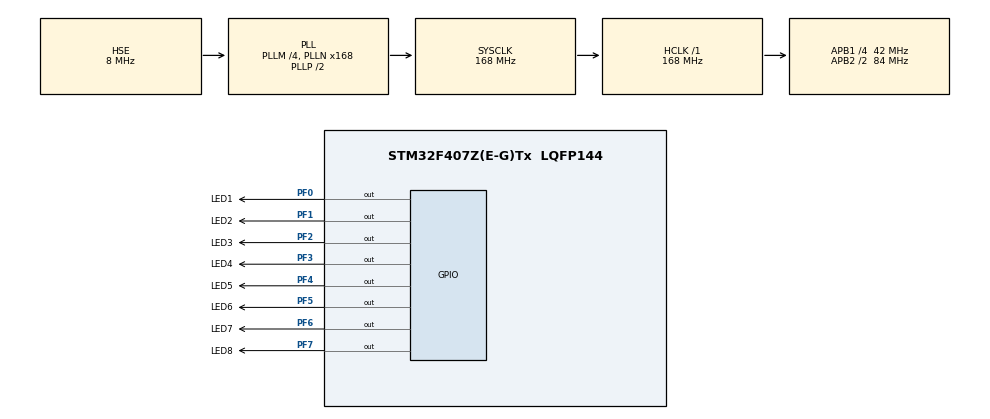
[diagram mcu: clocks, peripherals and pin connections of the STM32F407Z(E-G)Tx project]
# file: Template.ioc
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Mcu.Family=STM32F4
Mcu.Name=STM32F407Z(E-G)Tx
Mcu.Package=LQFP144
NVIC.PriorityGroup=NVIC_PRIORITYGROUP_4
PA13.Mode=Serial_Wire
PA13.Signal=SYS_JTMS-SWDIO
PA14.Mode=Serial_Wire
PA14.Signal=SYS_JTCK-SWCLK
PC14-OSC32_IN.Mode=LSE-External-Oscillator
PC14-OSC32_IN.Signal=RCC_OSC32_IN
PC15-OSC32_OUT.Mode=LSE-External-Oscillator
PC15-OSC32_OUT.Signal=RCC_OSC32_OUT
PF0.GPIO_Label=LED1
PF0.GPIO_ModeDefaultOutputPP=GPIO_MODE_OUTPUT_PP
PF0.GPIO_PuPd=GPIO_NOPULL
PF0.GPIO_Speed=GPIO_SPEED_FREQ_LOW
PF0.PinState=GPIO_PIN_SET
PF0.Signal=GPIO_Output
PF1.GPIO_Label=LED2
PF1.GPIO_ModeDefaultOutputPP=GPIO_MODE_OUTPUT_PP
PF1.GPIO_PuPd=GPIO_NOPULL
PF1.GPIO_Speed=GPIO_SPEED_FREQ_LOW
PF1.PinState=GPIO_PIN_SET
PF1.Signal=GPIO_Output
PF2.GPIO_Label=LED3
PF2.GPIO_ModeDefaultOutputPP=GPIO_MODE_OUTPUT_PP
PF2.GPIO_PuPd=GPIO_NOPULL
PF2.GPIO_Speed=GPIO_SPEED_FREQ_LOW
PF2.PinState=GPIO_PIN_SET
PF2.Signal=GPIO_Output
PF3.GPIO_Label=LED4
PF3.GPIO_ModeDefaultOutputPP=GPIO_MODE_OUTPUT_PP
PF3.GPIO_PuPd=GPIO_NOPULL
PF3.GPIO_Speed=GPIO_SPEED_FREQ_LOW
PF3.PinState=GPIO_PIN_SET
PF3.Signal=GPIO_Output
PF4.GPIO_Label=LED5
PF4.GPIO_ModeDefaultOutputPP=GPIO_MODE_OUTPUT_PP
PF4.GPIO_PuPd=GPIO_NOPULL
PF4.GPIO_Speed=GPIO_SPEED_FREQ_LOW
PF4.PinState=GPIO_PIN_SET
PF4.Signal=GPIO_Output
PF5.GPIO_Label=LED6
PF5.GPIO_ModeDefaultOutputPP=GPIO_MODE_OUTPUT_PP
PF5.GPIO_PuPd=GPIO_NOPULL
PF5.GPIO_Speed=GPIO_SPEED_FREQ_LOW
PF5.PinState=GPIO_PIN_SET
PF5.Signal=GPIO_Output
PF6.GPIO_Label=LED7
PF6.GPIO_ModeDefaultOutputPP=GPIO_MODE_OUTPUT_PP
PF6.GPIO_PuPd=GPIO_NOPULL
PF6.GPIO_Speed=GPIO_SPEED_FREQ_LOW
PF6.PinState=GPIO_PIN_SET
PF6.Signal=GPIO_Output
PF7.GPIO_Label=LED8
PF7.GPIO_ModeDefaultOutputPP=GPIO_MODE_OUTPUT_PP
PF7.GPIO_PuPd=GPIO_NOPULL
PF7.GPIO_Speed=GPIO_SPEED_FREQ_LOW
PF7.PinState=GPIO_PIN_SET
PF7.Signal=GPIO_Output
PH0-OSC_IN.Mode=HSE-External-Oscillator
PH0-OSC_IN.Signal=RCC_OSC_IN
PH1-OSC_OUT.Mode=HSE-External-Oscillator
PH1-OSC_OUT.Signal=RCC_OSC_OUT
ProjectManager.HeapSize=0x200
ProjectManager.StackSize=0x400
ProjectManager.TargetToolchain=MDK-ARM V5.32
RCC.48MHZClocksFreq_Value=84000000
RCC.AHBFreq_Value=168000000
RCC.APB1CLKDivider=RCC_HCLK_DIV4
RCC.APB1Freq_Value=42000000
RCC.APB1TimFreq_Value=84000000
RCC.APB2CLKDivider=RCC_HCLK_DIV2
RCC.APB2Freq_Value=84000000
RCC.APB2TimFreq_Value=168000000
RCC.CortexFreq_Value=168000000
RCC.HCLKFreq_Value=168000000
RCC.HSE_VALUE=8000000
RCC.HSI_VALUE=16000000
RCC.PLLM=4
RCC.PLLN=168
RCC.PLLSourceVirtual=RCC_PLLSOURCE_HSE
RCC.SYSCLKFreq_VALUE=168000000
RCC.SYSCLKSource=RCC_SYSCLKSOURCE_PLLCLK
RCC.VCOOutputFreq_Value=336000000
board=custom

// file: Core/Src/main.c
/* USER CODE BEGIN Header */
/**
  ******************************************************************************
  * @file           : main.c
  * @brief          : Main program body
  ******************************************************************************
  * @attention
  *
  * Copyright (c) 2026 STMicroelectronics.
  * All rights reserved.
  *
  * This software is licensed under terms that can be found in the LICENSE file
  * in the root directory of this software component.
  * If no LICENSE file comes with this software, it is provided AS-IS.
  *
  ******************************************************************************
  */
/* USER CODE END Header */
#include "main.h"
#include "gpio.h"

/* USER CODE BEGIN PV */
void delay_us(uint32_t nus)
{
    uint32_t temp;
    SysTick->LOAD = nus * 168;
    SysTick->VAL  = 0x00;
    SysTick->CTRL |= SysTick_CTRL_ENABLE_Msk;
    do
    {
        temp = SysTick->CTRL;
    } while((temp & 0x01) && !(temp & (1 << 16)));
    SysTick->CTRL &= ~SysTick_CTRL_ENABLE_Msk;
    SysTick->VAL  = 0x00;
}

/* USER CODE END PV */

void SystemClock_Config(void);

int main(void)
{

  /* MCU Configuration--------------------------------------------------------*/

  /* Reset of all peripherals, Initializes the Flash interface and the Systick. */
  HAL_Init();

  /* Configure the system clock */
  SystemClock_Config();

  /* Initialize all configured peripherals */
  MX_GPIO_Init();

  /* Infinite loop */
  /* USER CODE BEGIN WHILE */
  while (1)

 {
	 GPIOF->ODR=0xFE;
HAL_Delay(300);
GPIOF->ODR=0xFD;
HAL_Delay(300);
GPIOF->ODR=0xFB;
HAL_Delay(300);
GPIOF->ODR=0xF7;
HAL_Delay(300);
GPIOF->ODR=0xEF;
HAL_Delay(300);
GPIOF->ODR=0xDF;
HAL_Delay(300);
GPIOF->ODR=0xBF;
HAL_Delay(300);
GPIOF->ODR=0x7F;
HAL_Delay(300);

}

    /* USER CODE END WHILE */

}

void SystemClock_Config(void)
{
  RCC_OscInitTypeDef RCC_OscInitStruct = {0};
  RCC_ClkInitTypeDef RCC_ClkInitStruct = {0};

  /** Configure the main internal regulator output voltage
  */
  __HAL_RCC_PWR_CLK_ENABLE();
  __HAL_PWR_VOLTAGESCALING_CONFIG(PWR_REGULATOR_VOLTAGE_SCALE1);

  /** Initializes the RCC Oscillators according to the specified parameters
  * in the RCC_OscInitTypeDef structure.
  */
  RCC_OscInitStruct.OscillatorType = RCC_OSCILLATORTYPE_HSE;
  RCC_OscInitStruct.HSEState = RCC_HSE_ON;
  RCC_OscInitStruct.PLL.PLLState = RCC_PLL_ON;
  RCC_OscInitStruct.PLL.PLLSource = RCC_PLLSOURCE_HSE;
  RCC_OscInitStruct.PLL.PLLM = 4;
  RCC_OscInitStruct.PLL.PLLN = 168;
  RCC_OscInitStruct.PLL.PLLP = RCC_PLLP_DIV2;
  RCC_OscInitStruct.PLL.PLLQ = 4;
  if (HAL_RCC_OscConfig(&RCC_OscInitStruct) != HAL_OK)
  {
    Error_Handler();
  }

  /** Initializes the CPU, AHB and APB buses clocks
  */
  RCC_ClkInitStruct.ClockType = RCC_CLOCKTYPE_HCLK|RCC_CLOCKTYPE_SYSCLK
                              |RCC_CLOCKTYPE_PCLK1|RCC_CLOCKTYPE_PCLK2;
  RCC_ClkInitStruct.SYSCLKSource = RCC_SYSCLKSOURCE_PLLCLK;
  RCC_ClkInitStruct.AHBCLKDivider = RCC_SYSCLK_DIV1;
  RCC_ClkInitStruct.APB1CLKDivider = RCC_HCLK_DIV4;
  RCC_ClkInitStruct.APB2CLKDivider = RCC_HCLK_DIV2;

  if (HAL_RCC_ClockConfig(&RCC_ClkInitStruct, FLASH_LATENCY_5) != HAL_OK)
  {
    Error_Handler();
  }
}

void Error_Handler(void)
{
  __disable_irq();
  while (1)
  {
  }
}
